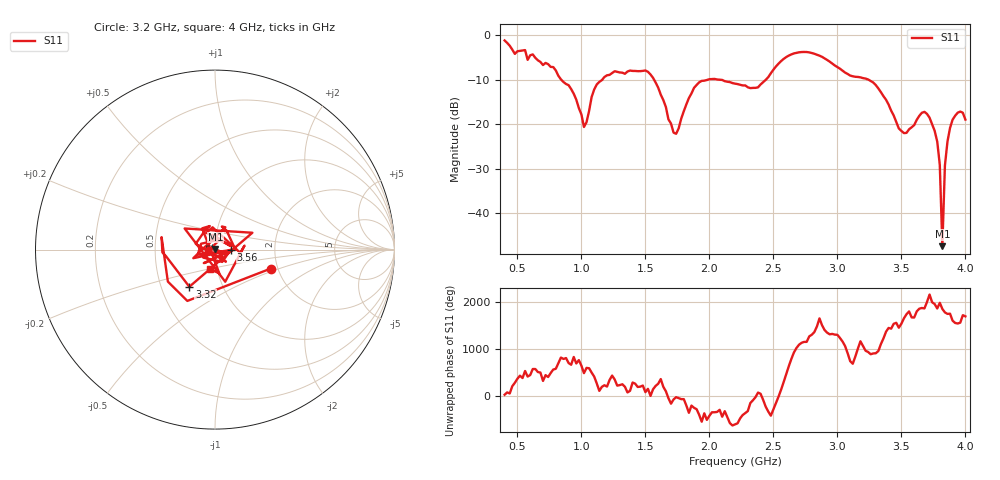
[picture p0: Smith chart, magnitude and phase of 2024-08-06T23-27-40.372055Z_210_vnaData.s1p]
!Created with skrf (http://scikit-rf.org).
# Hz S RI R 50.0
!freq ReS11 ImS11
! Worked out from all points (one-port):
!   181 points, 400 MHz to 4 GHz, reference 50 ohm
!   lowest |S11| = -47.4 dB at 3.82 GHz (marker M1), VSWR 1.01, Z = 50.3 + j0.343 ohm
!   |S11| at or under -10 dB: 1.567 GHz to 1.99 GHz (422.4 MHz wide, 23.7 % of centre); 2.07 GHz to 2.442 GHz (371.6 MHz wide, 16.5 % of centre); 3.242 GHz to end of sweep (the widest 3 of 4)
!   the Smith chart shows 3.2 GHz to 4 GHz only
!   S11 on the Smith chart (normalised r, x): 3.2 GHz: 1.84, -0.43; 3.32 GHz: 0.69, -0.31; 3.56 GHz: 1.19, +0.00; 4 GHz: 0.92, -0.20
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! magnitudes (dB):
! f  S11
! 400 MHz  -1.2
! 860 MHz  -10.5
! 940 MHz  -13.2
! 1.02 GHz  -20.6
! 1.12 GHz  -11.1
! 1.3 GHz  -8.4
! 1.52 GHz  -8.2
! 1.6 GHz  -11.8
! 1.72 GHz  -21.9
! 1.76 GHz  -20.9
! 1.92 GHz  -10.6
! 2.2 GHz  -10.9
! 2.38 GHz  -11.7
! 2.66 GHz  -4.1
! 2.86 GHz  -4.6
! 3.1 GHz  -9.1
! 3.2 GHz  -9.7
! 3.32 GHz  -12.0
! 3.48 GHz  -21.0
! 3.56 GHz  -21.2
! 3.68 GHz  -17.2
! 3.76 GHz  -21.5
! 3.8 GHz  -29.2
! 3.82 GHz  -47.4
! 3.84 GHz  -29.3
! 3.86 GHz  -23.9
! 3.92 GHz  -18.1
! 4 GHz  -19.0
